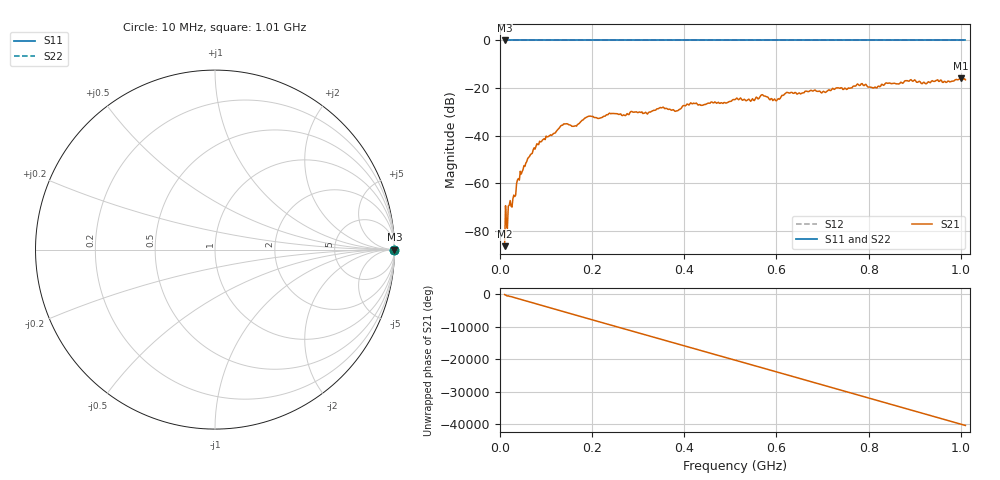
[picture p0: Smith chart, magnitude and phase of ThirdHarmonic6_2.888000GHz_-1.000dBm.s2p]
! 8/17/2025 7:56:40 AM
! C:\ANRITSUVNA\TEMP\TEMP.S2P
! CHANNEL.1
! TR.MEASUREMENT
! RAW.DATA
! RF.CORRECTION.OFF
! AVERAGING.OFF
! IF.BANDWIDTH: 5KHZ
! SWEEPTYPE:  FREQ.SWEEP(Linear)
! Reference Plane Port Info
! PORT:  PORT1  PORT2
! DISTANCE:  0  m  0  m
! TIME:  0  s  0  s
! PHASE.OFFSET:  0  deg.  0  deg.
! LOSS:  0  dB  0  dB
! REF.LOSS:  0  dB  0  dB
! REF.FREQ:  0  Hz  0  Hz
! Power Info
! POWER:  -20  dBm  -20  dBm
! EFF.POWER:  -20  dBm  -20  dBm
! SOURCE.ATTEN:  0  dB  0  dB
! TEST.ATTEN:  0  dB  0  dB
# GHZ S RI R 50.0
! FREQ.GHZ  S11RE  S11IM  S21RE  S21IM  S12RE  S12IM  S22RE  S22IM
!; PortSelection: Port_12
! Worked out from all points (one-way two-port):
!   501 points, 10 MHz to 1.01 GHz, reference 50 ohm
!   highest |S21| = -15.96 dB at 1 GHz (marker M1); lowest = -86.3 dB at 10 MHz (marker M2)
!   lowest |S11| = 0.0 dB at 10 MHz (marker M3)
!   |S11| at or under -10 dB: nowhere
!   |S22| runs from 0.0 to 0.0 dB; largest |S21 - S12| = 1.2
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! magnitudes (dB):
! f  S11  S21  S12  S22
! 10 MHz  0.0  -86.3  0.0  0.0
! 22 MHz  0.0  -67.2  0.0  0.0
! 30 MHz  0.0  -64.9  0.0  0.0
! 40 MHz  0.0  -58.0  0.0  0.0
! 76 MHz  0.0  -45.6  0.0  0.0
! 136 MHz  0.0  -35.5  0.0  0.0
! 162 MHz  0.0  -35.9  0.0  0.0
! 178 MHz  0.0  -33.5  0.0  0.0
! 344 MHz  0.0  -28.6  0.0  0.0
! 382 MHz  0.0  -29.6  0.0  0.0
! 416 MHz  0.0  -26.5  0.0  0.0
! 510 MHz  0.0  -24.9  0.0  0.0
! 548 MHz  0.0  -24.4  0.0  0.0
! 570 MHz  0.0  -22.8  0.0  0.0
! 596 MHz  0.0  -24.6  0.0  0.0
! 622 MHz  0.0  -21.8  0.0  0.0
! 678 MHz  0.0  -21.2  0.0  0.0
! 782 MHz  0.0  -18.7  0.0  0.0
! 814 MHz  0.0  -19.6  0.0  0.0
! 844 MHz  0.0  -17.9  0.0  0.0
! 1 GHz  0.0  -16.0  0.0  0.0
! 1.01 GHz  0.0  -16.5  0.0  0.0
